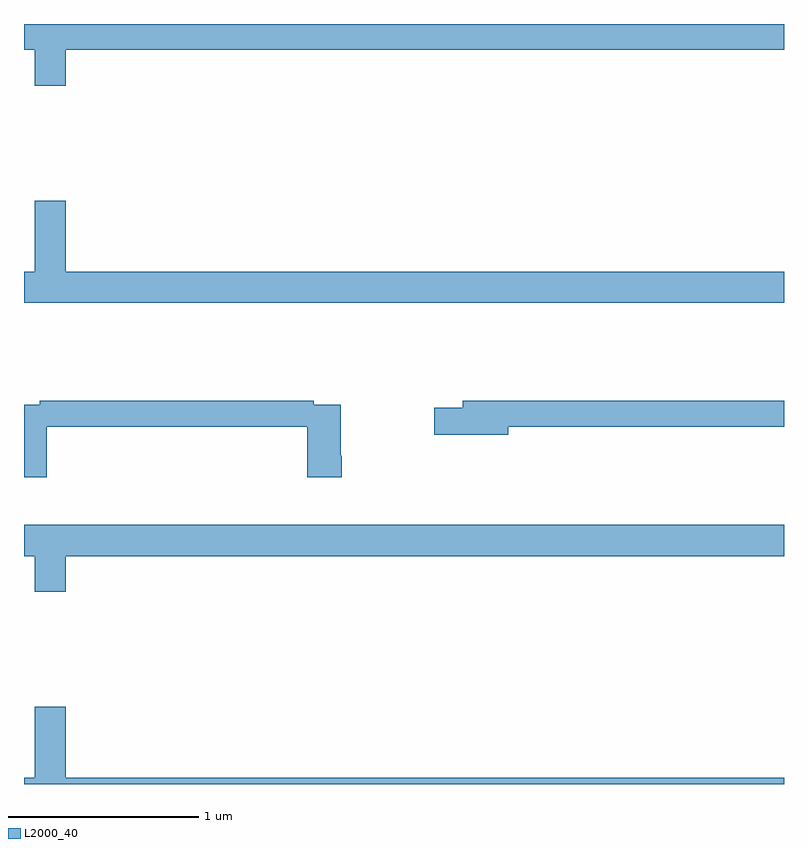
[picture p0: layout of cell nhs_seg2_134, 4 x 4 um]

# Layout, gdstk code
import gdstk
lib = gdstk.Library(unit=1e-6, precision=1e-09)
def P(c, l, *ps):  # polygons
    for p in ps: c.add(gdstk.Polygon(p, *l))
L2000_40 = (2000, 40)

nhs_seg2_134 = lib.new_cell('nhs_seg2_134')
P(nhs_seg2_134, L2000_40, [(117.22,619.664),(121,619.664),(121,619.8),(117,619.8),(117,619.664),(117.056,619.664),(117.056,619.476),(117.22,619.476)],
  [(121,618.496),(117.22,618.496),(117.22,618.871),(117.056,618.871),(117.056,618.496),(117,618.496),(117,618.332),(121,618.332)],
  [(119.548,617.68),(121,617.68),(121,617.816),(119.309,617.816),(119.309,617.78),(119.16,617.78),(119.16,617.638),(119.548,617.638)],
  [(117.119,617.68),(118.49,617.68),(118.49,617.415),(118.673,617.415),(118.673,617.527),(118.668,617.527),(118.668,617.796),(118.526,617.796),(118.526,617.816),(117.082,617.816),(117.082,617.796),(117,617.796),(117,617.415),(117.119,617.415)],
  [(117.22,617),(121,617),(121,617.164),(117,617.164),(117,617),(117.056,617),(117.056,616.812),(117.22,616.812)],
  [(121,615.832),(117.22,615.832),(117.22,616.207),(117.056,616.207),(117.056,615.832),(117,615.832),(117,615.8),(121,615.8)])

lib.write_gds('nhs_seg2_134.gds')
